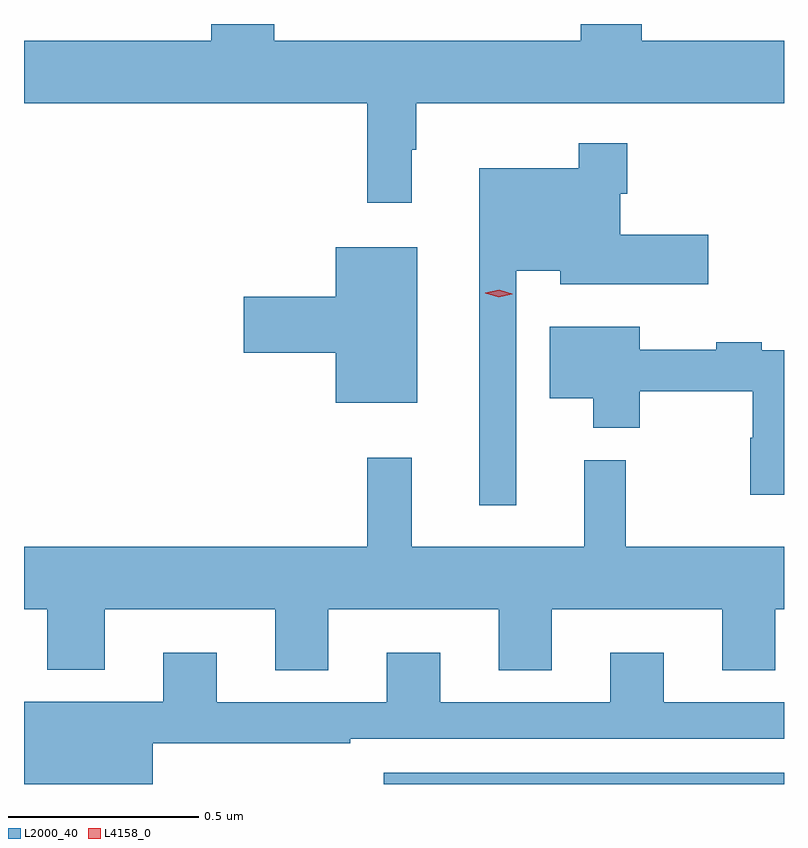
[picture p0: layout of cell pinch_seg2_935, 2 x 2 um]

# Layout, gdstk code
import gdstk
lib = gdstk.Library(unit=1e-6, precision=1e-09)
def R(c, l, rs):  # rectangles x0, y0, x1, y1
    for r in rs: c.add(gdstk.rectangle(r[:2], r[2:], *l))
def P(c, l, *ps):  # polygons
    for p in ps: c.add(gdstk.Polygon(p, *l))
L2000_40 = (2000, 40)
L4158_0 = (4158, 0)

pinch_seg2_935 = lib.new_cell('pinch_seg2_935')
R(pinch_seg2_935, L2000_40, [(443.427,653.836,444.48,653.866)])
P(pinch_seg2_935, L2000_40, [(443.5,655.505),(443.512,655.505),(443.512,655.628),(444.48,655.628),(444.48,655.792),(444.105,655.792),(444.105,655.836),(443.945,655.836),(443.945,655.792),(443.138,655.792),(443.138,655.836),(442.973,655.836),(442.973,655.792),(442.48,655.792),(442.48,655.628),(443.383,655.628),(443.383,655.365),(443.5,655.365)],
  [(443.775,655.187),(443.891,655.187),(443.891,655.151),(444.28,655.151),(444.28,655.281),(444.049,655.281),(444.049,655.389),(444.068,655.389),(444.068,655.522),(443.94,655.522),(443.94,655.456),(443.678,655.456),(443.678,654.57),(443.775,654.57)],
  [(443.515,655.249),(443.3,655.249),(443.3,655.118),(443.058,655.118),(443.058,654.971),(443.3,654.971),(443.3,654.839),(443.515,654.839)],
  [(444.48,654.978),(444.422,654.978),(444.422,654.998),(444.302,654.998),(444.302,654.979),(444.1,654.979),(444.1,655.039),(443.864,655.039),(443.864,654.851),(443.978,654.851),(443.978,654.773),(444.1,654.773),(444.1,654.87),(444.398,654.87),(444.398,654.747),(444.391,654.747),(444.391,654.597),(444.48,654.597)],
  [(443.281,654.296),(443.729,654.296),(443.729,654.136),(443.869,654.136),(443.869,654.296),(444.317,654.296),(444.317,654.136),(444.457,654.136),(444.457,654.296),(444.48,654.296),(444.48,654.46),(444.064,654.46),(444.064,654.688),(443.954,654.688),(443.954,654.46),(443.501,654.46),(443.501,654.694),(443.383,654.694),(443.383,654.46),(442.48,654.46),(442.48,654.296),(442.541,654.296),(442.541,654.137),(442.693,654.137),(442.693,654.296),(443.141,654.296),(443.141,654.136),(443.281,654.136)],
  [(442.819,653.943),(443.339,653.943),(443.339,653.955),(444.48,653.955),(444.48,654.051),(444.163,654.051),(444.163,654.181),(444.023,654.181),(444.023,654.051),(443.575,654.051),(443.575,654.181),(443.435,654.181),(443.435,654.051),(442.987,654.051),(442.987,654.181),(442.847,654.181),(442.847,654.052),(442.48,654.052),(442.48,653.836),(442.819,653.836)])
P(pinch_seg2_935, L4158_0, [(443.729,655.117),(443.694,655.128),(443.694,655.129),(443.694,655.129),(443.73,655.137),(443.765,655.126),(443.765,655.125),(443.765,655.125)])

lib.write_gds('pinch_seg2_935.gds')
